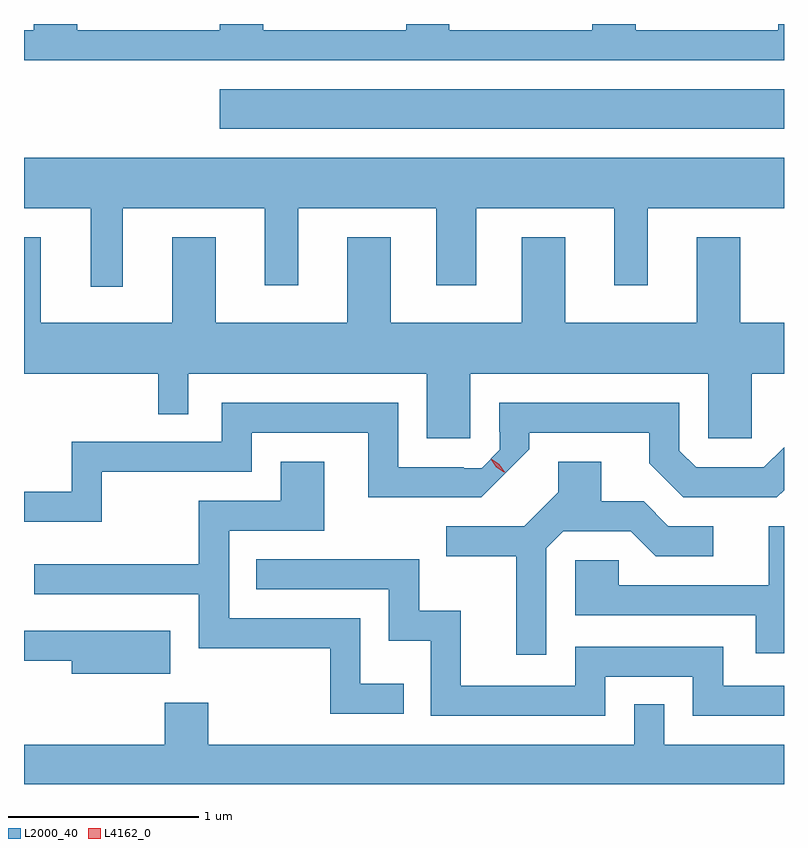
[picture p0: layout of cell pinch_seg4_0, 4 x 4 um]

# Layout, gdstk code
import gdstk
lib = gdstk.Library(unit=1e-6, precision=1e-09)
def R(c, l, rs):  # rectangles x0, y0, x1, y1
    for r in rs: c.add(gdstk.rectangle(r[:2], r[2:], *l))
def P(c, l, *ps):  # polygons
    for p in ps: c.add(gdstk.Polygon(p, *l))
L2000_40 = (2000, 40)
L4162_0 = (4162, 0)

pinch_seg4_0 = lib.new_cell('pinch_seg4_0')
R(pinch_seg4_0, L2000_40, [(1867.931,1324.886,1870.9,1325.094)])
P(pinch_seg4_0, L2000_40, [(1870.9,1325.437),(1870.871,1325.437),(1870.871,1325.404),(1870.119,1325.404),(1870.119,1325.437),(1869.891,1325.437),(1869.891,1325.404),(1869.139,1325.404),(1869.139,1325.437),(1868.911,1325.437),(1868.911,1325.404),(1868.159,1325.404),(1868.159,1325.437),(1867.931,1325.437),(1867.931,1325.404),(1867.179,1325.404),(1867.179,1325.437),(1866.951,1325.437),(1866.951,1325.404),(1866.9,1325.404),(1866.9,1325.246),(1870.9,1325.246)],
  [(1867.419,1324.466),(1868.166,1324.466),(1868.166,1324.061),(1868.344,1324.061),(1868.344,1324.466),(1869.071,1324.466),(1869.071,1324.061),(1869.279,1324.061),(1869.279,1324.466),(1870.006,1324.466),(1870.006,1324.061),(1870.184,1324.061),(1870.184,1324.466),(1870.9,1324.466),(1870.9,1324.734),(1866.9,1324.734),(1866.9,1324.466),(1867.251,1324.466),(1867.251,1324.053),(1867.419,1324.053)],
  [(1869.249,1323.596),(1870.501,1323.596),(1870.501,1323.256),(1870.729,1323.256),(1870.729,1323.596),(1870.9,1323.596),(1870.9,1323.864),(1870.669,1323.864),(1870.669,1324.314),(1870.441,1324.314),(1870.441,1323.864),(1869.749,1323.864),(1869.749,1324.314),(1869.521,1324.314),(1869.521,1323.864),(1868.829,1323.864),(1868.829,1324.314),(1868.601,1324.314),(1868.601,1323.864),(1867.909,1323.864),(1867.909,1324.314),(1867.681,1324.314),(1867.681,1323.864),(1866.989,1323.864),(1866.989,1324.314),(1866.9,1324.314),(1866.9,1323.596),(1867.606,1323.596),(1867.606,1323.383),(1867.764,1323.383),(1867.764,1323.596),(1869.021,1323.596),(1869.021,1323.256),(1869.249,1323.256)],
  [(1867.309,1323.081),(1868.099,1323.081),(1868.099,1323.286),(1868.711,1323.286),(1868.711,1322.946),(1869.306,1322.946),(1869.559,1323.2),(1869.559,1323.286),(1870.191,1323.286),(1870.191,1323.124),(1870.369,1322.946),(1870.862,1322.946),(1870.9,1322.984),(1870.9,1323.21),(1870.794,1323.104),(1870.437,1323.104),(1870.349,1323.192),(1870.349,1323.444),(1869.401,1323.444),(1869.401,1323.29),(1869.405,1323.29),(1869.405,1323.196),(1869.31,1323.1),(1869.215,1323.1),(1869.215,1323.104),(1868.869,1323.104),(1868.869,1323.444),(1867.941,1323.444),(1867.941,1323.239),(1867.151,1323.239),(1867.151,1322.974),(1866.9,1322.974),(1866.9,1322.816),(1867.309,1322.816)],
  [(1868.898,1321.964),(1868.669,1321.964),(1868.669,1322.309),(1867.979,1322.309),(1867.979,1322.771),(1868.479,1322.771),(1868.479,1323.134),(1868.251,1323.134),(1868.251,1322.929),(1867.821,1322.929),(1867.821,1322.594),(1866.953,1322.594),(1866.953,1322.436),(1867.821,1322.436),(1867.821,1322.151),(1868.511,1322.151),(1868.511,1321.806),(1868.898,1321.806)],
  [(1869.649,1322.679),(1869.737,1322.766),(1870.094,1322.766),(1870.224,1322.636),(1870.528,1322.636),(1870.528,1322.794),(1870.292,1322.794),(1870.162,1322.924),(1869.939,1322.924),(1869.939,1323.134),(1869.711,1323.134),(1869.711,1322.972),(1869.534,1322.794),(1869.123,1322.794),(1869.123,1322.636),(1869.491,1322.636),(1869.491,1322.118),(1869.649,1322.118)],
  [(1870.9,1322.794),(1870.821,1322.794),(1870.821,1322.484),(1870.029,1322.484),(1870.029,1322.614),(1869.801,1322.614),(1869.801,1322.326),(1870.751,1322.326),(1870.751,1322.126),(1870.9,1322.126)],
  [(1869.959,1322.001),(1870.421,1322.001),(1870.421,1321.796),(1870.9,1321.796),(1870.9,1321.954),(1870.579,1321.954),(1870.579,1322.159),(1869.801,1322.159),(1869.801,1321.954),(1869.199,1321.954),(1869.199,1322.349),(1868.979,1322.349),(1868.979,1322.619),(1868.123,1322.619),(1868.123,1322.461),(1868.821,1322.461),(1868.821,1322.191),(1869.041,1322.191),(1869.041,1321.796),(1869.959,1321.796)],
  [(1867.669,1322.244),(1866.9,1322.244),(1866.9,1322.086),(1867.151,1322.086),(1867.151,1322.016),(1867.669,1322.016)],
  [(1870.9,1321.644),(1870.269,1321.644),(1870.269,1321.858),(1870.111,1321.858),(1870.111,1321.644),(1867.869,1321.644),(1867.869,1321.864),(1867.641,1321.864),(1867.641,1321.644),(1866.9,1321.644),(1866.9,1321.437),(1870.9,1321.437)])
P(pinch_seg4_0, L4162_0, [(1869.432,1323.075),(1869.388,1323.106),(1869.359,1323.149),(1869.359,1323.15),(1869.359,1323.15),(1869.402,1323.12),(1869.432,1323.076),(1869.432,1323.075)],
  [(1869.425,1323.077),(1869.386,1323.103),(1869.36,1323.144),(1869.36,1323.144),(1869.361,1323.144),(1869.4,1323.118),(1869.426,1323.078),(1869.426,1323.077)])

lib.write_gds('pinch_seg4_0.gds')
